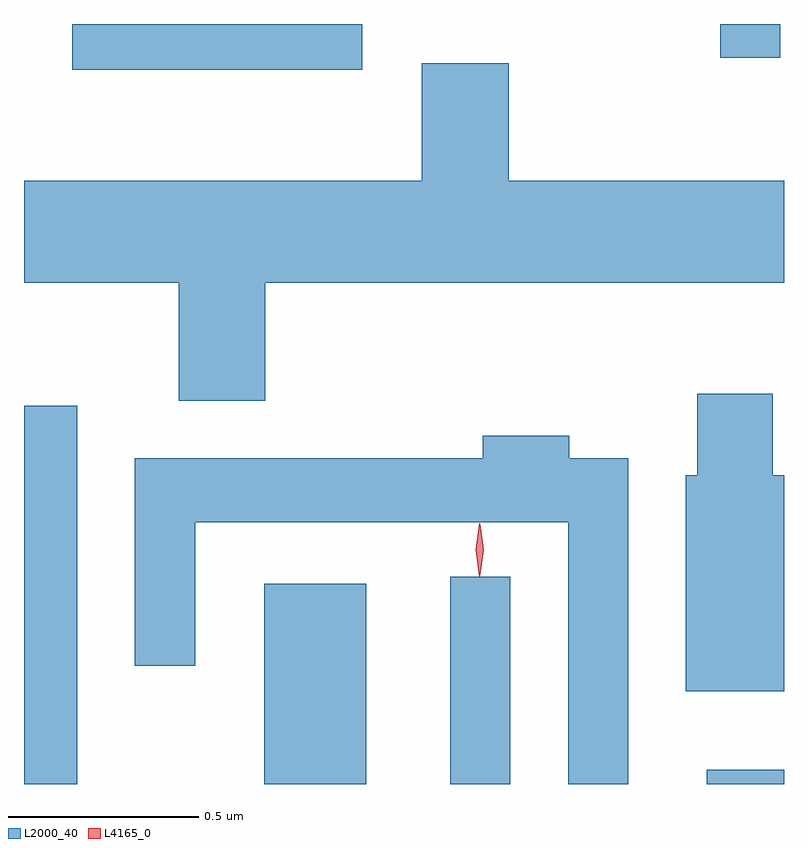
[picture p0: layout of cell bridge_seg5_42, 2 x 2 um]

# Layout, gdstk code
import gdstk
lib = gdstk.Library(unit=1e-6, precision=1e-09)
def R(c, l, rs):  # rectangles x0, y0, x1, y1
    for r in rs: c.add(gdstk.rectangle(r[:2], r[2:], *l))
def P(c, l, *ps):  # polygons
    for p in ps: c.add(gdstk.Polygon(p, *l))
L2000_40 = (2000, 40)
L4165_0 = (4165, 0)

bridge_seg5_42 = lib.new_cell('bridge_seg5_42')
R(bridge_seg5_42, L2000_40, [(1325.374,1466.577,1325.514,1467.573), (1326.006,1466.577,1326.274,1467.104), (1326.496,1466.577,1326.654,1467.123), (1327.171,1466.577,1327.374,1466.614), (1325.501,1468.456,1326.264,1468.577), (1327.206,1468.488,1327.364,1468.577)])
P(bridge_seg5_42, L2000_40, [(1326.009,1467.896),(1327.374,1467.896),(1327.374,1468.164),(1326.649,1468.164),(1326.649,1468.474),(1326.421,1468.474),(1326.421,1468.164),(1325.374,1468.164),(1325.374,1467.896),(1325.781,1467.896),(1325.781,1467.586),(1326.009,1467.586)],
  [(1327.374,1467.389),(1327.344,1467.389),(1327.344,1467.604),(1327.146,1467.604),(1327.146,1467.389),(1327.116,1467.389),(1327.116,1466.821),(1327.374,1466.821)],
  [(1326.964,1467.434),(1326.809,1467.434),(1326.809,1467.494),(1326.581,1467.494),(1326.581,1467.434),(1325.666,1467.434),(1325.666,1466.888),(1325.824,1466.888),(1325.824,1467.266),(1326.806,1467.266),(1326.806,1466.577),(1326.964,1466.577)])
P(bridge_seg5_42, L4165_0, [(1326.573,1467.123),(1326.572,1467.124),(1326.563,1467.193),(1326.572,1467.262),(1326.573,1467.263),(1326.573,1467.262),(1326.583,1467.193),(1326.573,1467.124)],
  [(1326.574,1467.127),(1326.574,1467.128),(1326.564,1467.194),(1326.574,1467.26),(1326.574,1467.26),(1326.575,1467.26),(1326.584,1467.194),(1326.575,1467.128)])

lib.write_gds('bridge_seg5_42.gds')
